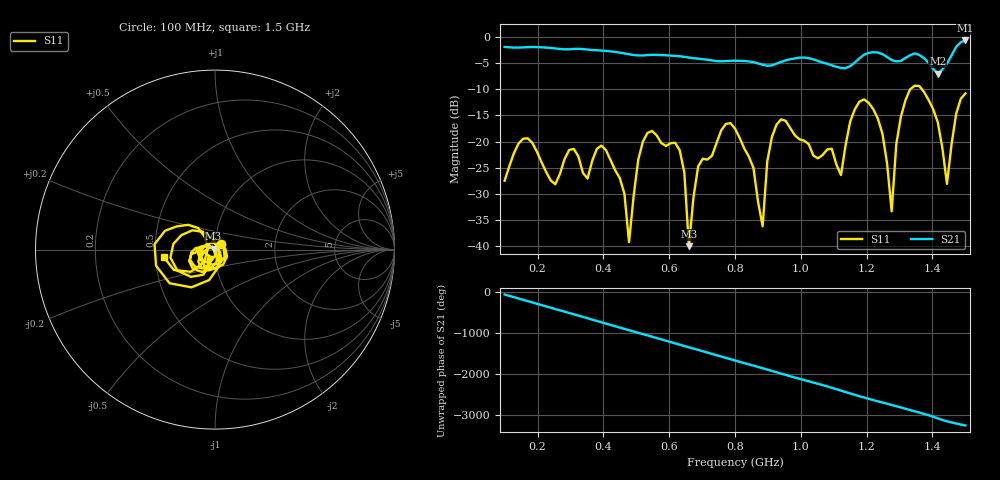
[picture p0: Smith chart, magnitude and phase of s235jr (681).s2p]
! NanoVNA-App
! Date: 2025-09-25 15:09:28
! Start: 100MHz Stop: 1,5GHz Points: 101
! S-Parameter data: F S11 S21 S12 S22
# Hz S RI R 50
!  Frequency  S11_Real  S11_Imag  S21_Real  S21_Imag  S12_Real  S12_Imag  S22_Real  S22_Imag
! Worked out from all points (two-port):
!   101 points, 100 MHz to 1.5 GHz, reference 50 ohm
!   highest |S21| = -0.73 dB at 1.5 GHz (marker M1); lowest = -7.0 dB at 1.416 GHz (marker M2)
!   |S21| within 3 dB of the highest: start of sweep to 629.4 MHz; 1.186 GHz to 1.258 GHz (71.64 MHz wide, 5.86 % of centre) (the widest 2 of 4)
!   lowest |S11| = -39.9 dB at 660 MHz (marker M3), VSWR 1.02, Z = 49.2 + j0.575 ohm
!   |S11| at or under -10 dB: start of sweep to 1.333 GHz; 1.367 GHz to end of sweep
!   S12 and S22 are empty: the file has one direction only
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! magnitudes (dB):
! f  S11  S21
! 100 MHz  -27.5  -2.0
! 170 MHz  -19.4  -2.0
! 338 MHz  -26.0  -2.4
! 408 MHz  -21.6  -2.7
! 478 MHz  -39.2  -3.4
! 520 MHz  -20.0  -3.6
! 576 MHz  -20.3  -3.5
! 632 MHz  -21.7  -3.7
! 660 MHz  -39.9  -4.0
! 688 MHz  -24.7  -4.2
! 800 MHz  -17.5  -4.6
! 884 MHz  -36.2  -5.4
! 926 MHz  -16.8  -5.1
! 1.038 GHz  -22.7  -4.3
! 1.122 GHz  -26.4  -6.0
! 1.192 GHz  -12.0  -3.5
! 1.248 GHz  -18.5  -3.3
! 1.276 GHz  -33.3  -4.5
! 1.332 GHz  -10.0  -3.5
! 1.416 GHz  -16.3  -7.0
! 1.444 GHz  -28.1  -5.1
! 1.5 GHz  -10.8  -0.7
